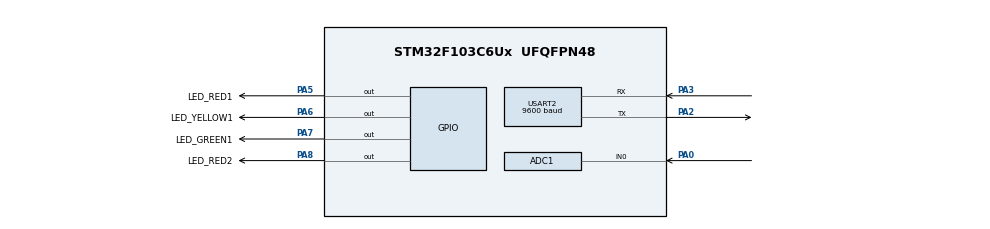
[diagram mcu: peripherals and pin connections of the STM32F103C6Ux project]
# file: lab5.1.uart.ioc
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ADC1.Channel-0\#ChannelRegularConversion=ADC_CHANNEL_0
ADC1.ContinuousConvMode=ENABLE
ADC1.NbrOfConversionFlag=1
ADC1.Rank-0\#ChannelRegularConversion=1
ADC1.SamplingTime-0\#ChannelRegularConversion=ADC_SAMPLETIME_1CYCLE_5
ADC1.master=1
Mcu.Family=STM32F1
Mcu.Name=STM32F103C6Ux
Mcu.Package=UFQFPN48
NVIC.PriorityGroup=NVIC_PRIORITYGROUP_4
NVIC.TIM2_IRQn=true\:0\:0\:false\:false\:true\:true\:true
NVIC.USART2_IRQn=true\:0\:0\:false\:false\:true\:true\:true
PA0-WKUP.Signal=ADCx_IN0
PA2.Mode=Asynchronous
PA2.Signal=USART2_TX
PA3.Mode=Asynchronous
PA3.Signal=USART2_RX
PA5.GPIO_Label=LED_RED1
PA5.Signal=GPIO_Output
PA6.GPIO_Label=LED_YELLOW1
PA6.Signal=GPIO_Output
PA7.GPIO_Label=LED_GREEN1
PA7.Signal=GPIO_Output
PA8.GPIO_Label=LED_RED2
PA8.Signal=GPIO_Output
ProjectManager.HeapSize=0x200
ProjectManager.StackSize=0x400
ProjectManager.TargetToolchain=STM32CubeIDE
RCC.APB1Freq_Value=8000000
RCC.APB2Freq_Value=8000000
SH.ADCx_IN0.0=ADC1_IN0,IN0
TIM2.Period=9
TIM2.Prescaler=7999
USART2.BaudRate=9600
USART2.VirtualMode=VM_ASYNC
VP_SYS_VS_ND.Mode=No_Debug
VP_TIM2_VS_ClockSourceINT.Mode=Internal
board=custom

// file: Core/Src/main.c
/* USER CODE BEGIN Header */
/**
  ******************************************************************************
  * @file           : main.c
  * @brief          : Main program body
  ******************************************************************************
  * @attention
  *
  * <h2><center>&copy; Copyright (c) 2022 STMicroelectronics.
  * All rights reserved.</center></h2>
  *
  * This software component is licensed by ST under BSD 3-Clause license,
  * the "License"; You may not use this file except in compliance with the
  * License. You may obtain a copy of the License at:
  *                        opensource.org/licenses/BSD-3-Clause
  *
  ******************************************************************************
  */
/* USER CODE END Header */
#include "main.h"

/* USER CODE BEGIN Includes */
#include "stdio.h"
#include "software_timer.h"
#include "global.h"
#include "function.h"
/* USER CODE END Includes */

ADC_HandleTypeDef hadc1;

TIM_HandleTypeDef htim2;

UART_HandleTypeDef huart2;

void SystemClock_Config(void);
static void MX_GPIO_Init(void);
static void MX_ADC1_Init(void);
static void MX_USART2_UART_Init(void);
static void MX_TIM2_Init(void);

/* USER CODE BEGIN 0 */
#define MAX_BUFFER_SIZE 30
uint8_t temp = 0;
uint8_t buffer [ MAX_BUFFER_SIZE ];
uint8_t index_buffer = 0;
uint8_t buffer_flag = 0;

void HAL_UART_RxCpltCallback ( UART_HandleTypeDef * huart ){
	if(huart -> Instance == USART2 ){
		HAL_UART_Transmit (& huart2 , &temp , 1, 50) ;
		buffer [ index_buffer ++] = temp ;
		if( index_buffer == 30) index_buffer = 0;
		buffer_flag = 1;
		HAL_UART_Receive_IT (& huart2 , &temp , 1);
	}
}

char command_data[3];
int command_flag = 0;
int i = 0;
void command_parser_fsm (){
	switch(status1){
		case READ:
			setLedRed();
			if(buffer[index_buffer - 1] == 'R'){
				status1 = RST_STATE;
				i = 0;
				command_data[i] = buffer[index_buffer - 1];
			}
			if(buffer[index_buffer - 1] == 'O'){
				status1 = OK_STATE;
				i = 0;
				command_data[i] = buffer[index_buffer - 1];
			}
			break;
		case RST_STATE:
			setLedYellow();
			if(buffer[index_buffer - 1] == 'S'){
				i++;
				command_data[i] = buffer[index_buffer - 1];
			}
			if(buffer[index_buffer - 1] == 'T'){
				i++;
				command_data[i] = buffer[index_buffer - 1];
				if(command_data[0]=='R' && command_data[1]=='S' && command_data[2]=='T'){
					command_flag = 1;
					setLedRed2();
				}
				status1 = READ;
			}
			if(buffer[index_buffer - 1] != 'R' && buffer[index_buffer - 1] != 'S' && buffer[index_buffer - 1] != 'T'){
				status1 = READ;
			}
			if(buffer[index_buffer - 1] == 'O'){
				status1 = OK_STATE;
				i = 0;
				command_data[i] = buffer[index_buffer - 1];
			}
			break;
		case OK_STATE:
			setLedGreen();
			if(buffer[index_buffer - 1] == 'R') {
				i = 0;
				command_data[i] = buffer[index_buffer - 1];
				status1 = RST_STATE;
			}
			if(buffer[index_buffer - 1] == 'K'){
				i++;
				command_data[i] = buffer[index_buffer - 1];
				command_flag = 0;
				status1 = READ;
			}
			if(buffer[index_buffer - 1] != 'K') status1 = READ;
			break;
		default:
			break;
	}
}

uint16_t ADC_value = 0;
char str[30];
void uart_communiation_fsm (){
	switch(status2){
		case WAIT:
			if(command_flag == 1){
				status2 = PRINT_ADC;
				setTimer1(500);
			}
			if(timer1_flag == 1){
				togLedRed2();
				setTimer1(500);
			}
			break;
		case PRINT_ADC:
			if(command_flag == 0){
				status2 = WAIT;
				setTimer1(500);
			}
			if(timer1_flag == 1){
				ADC_value = HAL_ADC_GetValue (& hadc1 );
				HAL_UART_Transmit (& huart2 , ( char *) str , sprintf (str , "\r\nADC=%d", ADC_value ), 1000) ;
				togLedYellow();
				setTimer1(3000);
			}
			break;
		default:
			break;
	}

}
/* USER CODE END 0 */

int main(void)
{

  /* MCU Configuration--------------------------------------------------------*/

  /* Reset of all peripherals, Initializes the Flash interface and the Systick. */
  HAL_Init();

  /* Configure the system clock */
  SystemClock_Config();

  /* Initialize all configured peripherals */
  MX_GPIO_Init();
  MX_ADC1_Init();
  MX_USART2_UART_Init();
  MX_TIM2_Init();
  /* USER CODE BEGIN 2 */
  HAL_TIM_Base_Start_IT (& htim2 );
  HAL_UART_Receive_IT(&huart2, &temp, 1);
  HAL_ADC_Start(&hadc1);
  /* USER CODE END 2 */

  /* Infinite loop */
  /* USER CODE BEGIN WHILE */
  clearLed();
  setTimer1(500);
  while (1)
  {
	  if( buffer_flag == 1){
		  command_parser_fsm ();
		  buffer_flag = 0;
	  }
	  uart_communiation_fsm ();

    /* USER CODE END WHILE */

  }
}

void SystemClock_Config(void)
{
  RCC_OscInitTypeDef RCC_OscInitStruct = {0};
  RCC_ClkInitTypeDef RCC_ClkInitStruct = {0};
  RCC_PeriphCLKInitTypeDef PeriphClkInit = {0};

  /** Initializes the RCC Oscillators according to the specified parameters
  * in the RCC_OscInitTypeDef structure.
  */
  RCC_OscInitStruct.OscillatorType = RCC_OSCILLATORTYPE_HSI;
  RCC_OscInitStruct.HSIState = RCC_HSI_ON;
  RCC_OscInitStruct.HSICalibrationValue = RCC_HSICALIBRATION_DEFAULT;
  RCC_OscInitStruct.PLL.PLLState = RCC_PLL_NONE;
  if (HAL_RCC_OscConfig(&RCC_OscInitStruct) != HAL_OK)
  {
    Error_Handler();
  }
  /** Initializes the CPU, AHB and APB buses clocks
  */
  RCC_ClkInitStruct.ClockType = RCC_CLOCKTYPE_HCLK|RCC_CLOCKTYPE_SYSCLK
                              |RCC_CLOCKTYPE_PCLK1|RCC_CLOCKTYPE_PCLK2;
  RCC_ClkInitStruct.SYSCLKSource = RCC_SYSCLKSOURCE_HSI;
  RCC_ClkInitStruct.AHBCLKDivider = RCC_SYSCLK_DIV1;
  RCC_ClkInitStruct.APB1CLKDivider = RCC_HCLK_DIV1;
  RCC_ClkInitStruct.APB2CLKDivider = RCC_HCLK_DIV1;

  if (HAL_RCC_ClockConfig(&RCC_ClkInitStruct, FLASH_LATENCY_0) != HAL_OK)
  {
    Error_Handler();
  }
  PeriphClkInit.PeriphClockSelection = RCC_PERIPHCLK_ADC;
  PeriphClkInit.AdcClockSelection = RCC_ADCPCLK2_DIV2;
  if (HAL_RCCEx_PeriphCLKConfig(&PeriphClkInit) != HAL_OK)
  {
    Error_Handler();
  }
}

static void MX_ADC1_Init(void)
{

  ADC_ChannelConfTypeDef sConfig = {0};

  /** Common config
  */
  hadc1.Instance = ADC1;
  hadc1.Init.ScanConvMode = ADC_SCAN_DISABLE;
  hadc1.Init.ContinuousConvMode = ENABLE;
  hadc1.Init.DiscontinuousConvMode = DISABLE;
  hadc1.Init.ExternalTrigConv = ADC_SOFTWARE_START;
  hadc1.Init.DataAlign = ADC_DATAALIGN_RIGHT;
  hadc1.Init.NbrOfConversion = 1;
  if (HAL_ADC_Init(&hadc1) != HAL_OK)
  {
    Error_Handler();
  }
  /** Configure Regular Channel
  */
  sConfig.Channel = ADC_CHANNEL_0;
  sConfig.Rank = ADC_REGULAR_RANK_1;
  sConfig.SamplingTime = ADC_SAMPLETIME_1CYCLE_5;
  if (HAL_ADC_ConfigChannel(&hadc1, &sConfig) != HAL_OK)
  {
    Error_Handler();
  }

}

static void MX_TIM2_Init(void)
{

  TIM_ClockConfigTypeDef sClockSourceConfig = {0};
  TIM_MasterConfigTypeDef sMasterConfig = {0};

  htim2.Instance = TIM2;
  htim2.Init.Prescaler = 7999;
  htim2.Init.CounterMode = TIM_COUNTERMODE_UP;
  htim2.Init.Period = 9;
  htim2.Init.ClockDivision = TIM_CLOCKDIVISION_DIV1;
  htim2.Init.AutoReloadPreload = TIM_AUTORELOAD_PRELOAD_DISABLE;
  if (HAL_TIM_Base_Init(&htim2) != HAL_OK)
  {
    Error_Handler();
  }
  sClockSourceConfig.ClockSource = TIM_CLOCKSOURCE_INTERNAL;
  if (HAL_TIM_ConfigClockSource(&htim2, &sClockSourceConfig) != HAL_OK)
  {
    Error_Handler();
  }
  sMasterConfig.MasterOutputTrigger = TIM_TRGO_RESET;
  sMasterConfig.MasterSlaveMode = TIM_MASTERSLAVEMODE_DISABLE;
  if (HAL_TIMEx_MasterConfigSynchronization(&htim2, &sMasterConfig) != HAL_OK)
  {
    Error_Handler();
  }

}

static void MX_USART2_UART_Init(void)
{

  huart2.Instance = USART2;
  huart2.Init.BaudRate = 9600;
  huart2.Init.WordLength = UART_WORDLENGTH_8B;
  huart2.Init.StopBits = UART_STOPBITS_1;
  huart2.Init.Parity = UART_PARITY_NONE;
  huart2.Init.Mode = UART_MODE_TX_RX;
  huart2.Init.HwFlowCtl = UART_HWCONTROL_NONE;
  huart2.Init.OverSampling = UART_OVERSAMPLING_16;
  if (HAL_UART_Init(&huart2) != HAL_OK)
  {
    Error_Handler();
  }

}

static void MX_GPIO_Init(void)
{
  GPIO_InitTypeDef GPIO_InitStruct = {0};

  /* GPIO Ports Clock Enable */
  __HAL_RCC_GPIOA_CLK_ENABLE();

  /*Configure GPIO pin Output Level */
  HAL_GPIO_WritePin(GPIOA, LED_RED1_Pin|LED_YELLOW1_Pin|LED_GREEN1_Pin|LED_RED2_Pin, GPIO_PIN_RESET);

  /*Configure GPIO pins : LED_RED1_Pin LED_YELLOW1_Pin LED_GREEN1_Pin LED_RED2_Pin */
  GPIO_InitStruct.Pin = LED_RED1_Pin|LED_YELLOW1_Pin|LED_GREEN1_Pin|LED_RED2_Pin;
  GPIO_InitStruct.Mode = GPIO_MODE_OUTPUT_PP;
  GPIO_InitStruct.Pull = GPIO_NOPULL;
  GPIO_InitStruct.Speed = GPIO_SPEED_FREQ_LOW;
  HAL_GPIO_Init(GPIOA, &GPIO_InitStruct);

}

/* USER CODE BEGIN 4 */
void HAL_TIM_PeriodElapsedCallback ( TIM_HandleTypeDef * htim )
{
	timerRun();
}
/* USER CODE END 4 */

void Error_Handler(void)
{
  __disable_irq();
  while (1)
  {
  }
}

/************************ (C) COPYRIGHT STMicroelectronics *****END OF FILE****/
